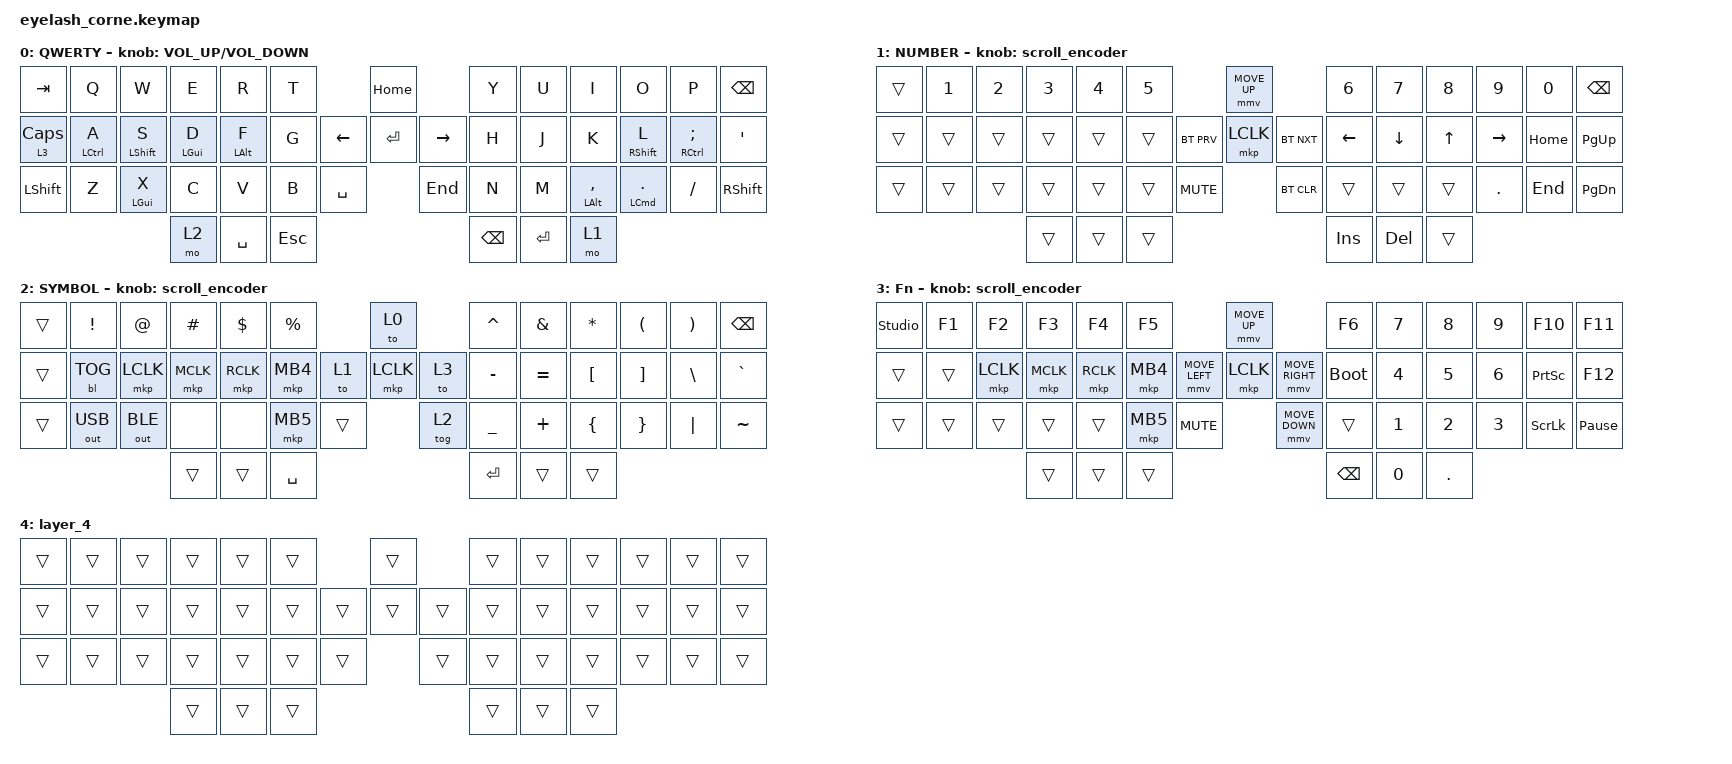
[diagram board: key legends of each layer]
#define ZMK_POINTING_DEFAULT_MOVE_VAL 1200  // 600
#define ZMK_POINTING_DEFAULT_SCRL_VAL 25   // 10

#include <input/processors.dtsi>
#include <zephyr/dt-bindings/input/input-event-codes.h>
#include <behaviors.dtsi>
#include <dt-bindings/zmk/backlight.h>
#include <dt-bindings/zmk/bt.h>
#include <dt-bindings/zmk/keys.h>
#include <dt-bindings/zmk/outputs.h>
#include <dt-bindings/zmk/pointing.h>
#include <dt-bindings/zmk/rgb.h>

&mmv_input_listener { input-processors = <&zip_xy_scaler 2 1>; };

&msc_input_listener { input-processors = <&zip_scroll_scaler 2 1>; };

&msc {
    acceleration-exponent = <1>;      // 0
    time-to-max-speed-ms = <100>;       // 300
    delay-ms = <0>;                   // 0
};

&mmv {
    time-to-max-speed-ms = <500>;
    acceleration-exponent = <1>;
    trigger-period-ms = <16>;
};

/ {
    behaviors {
        td0: td0 {
            compatible = "zmk,behavior-tap-dance";
            display-name = "Shift/Caps Lock Tap Dance";
            #binding-cells = <0>;
            bindings = <&kp LEFT_SHIFT>, <&kp CAPS>;
        };

        opt_mt: opt_mt {
            compatible = "zmk,behavior-hold-tap";
            label = "Optimized Mod-Tap";
            bindings = <&kp>, <&kp>;

            #binding-cells = <2>;
            flavor = "balanced";
            tapping-term-ms = <280>;
            quick-tap-ms = <175>;
            require-prior-idle-ms = <150>;
            hold-trigger-on-release;
        };

        opt_mt_2: opt_mt_2 {
            compatible = "zmk,behavior-hold-tap";
            label = "More Sensitive Optimized Mod-Tap";
            bindings = <&kp>, <&kp>;

            #binding-cells = <2>;
            tapping-term-ms = <200>;
            hold-trigger-on-release;
            flavor = "balanced";
            quick-tap-ms = <175>;
            require-prior-idle-ms = <150>;
        };
    };

    rgb_encoder: rgb_encoder {
        compatible = "zmk,behavior-sensor-rotate";
        #sensor-binding-cells = <0>;
        bindings = <&rgb_ug RGB_BRI>, <&rgb_ug RGB_BRD>;
    };

    scroll_encoder: scroll_encoder {
        compatible = "zmk,behavior-sensor-rotate";
        #sensor-binding-cells = <0>;
        bindings = <&msc SCRL_DOWN>, <&msc SCRL_UP>;

        tap-ms = <100>;
    };

    macros {
        switch_to_wezterm: switch_to_wezterm {
            compatible = "zmk,behavior-macro";
            #binding-cells = <0>;
            bindings =
                <&macro_press>,
                <&kp SPACE>,
                <&macro_tap>,
                <&kp T>,
                <&macro_release>,
                <&kp SPACE>;

            label = "SWITCH_TO_WEZTERM";
        };
    };

    keymap {
        compatible = "zmk,keymap";

        default_layer {
            display-name = "QWERTY";
            bindings = <
&kp TAB     &kp Q                   &kp W                 &kp E               &kp R               &kp T                           &kp HOME              &kp Y     &kp U      &kp I               &kp O                  &kp P                       &kp BSPC
&lt 3 CAPS  &opt_mt LEFT_CONTROL A  &opt_mt LEFT_SHIFT S  &opt_mt LEFT_GUI D  &opt_mt LEFT_ALT F  &kp G                 &kp LEFT  &kp ENTER  &kp RIGHT  &kp H     &kp J      &kp K               &opt_mt RIGHT_SHIFT L  &opt_mt RIGHT_CONTROL SEMI  &kp SQT
&kp LSHIFT  &kp Z                   &opt_mt LEFT_GUI X    &kp C               &kp V               &kp B    &kp SPACE              &kp END               &kp N     &kp M      &mt LEFT_ALT COMMA  &mt LEFT_COMMAND DOT   &kp FSLH                    &kp RSHIFT
                                                          &mo 2               &kp SPACE           &kp ESC                                               &kp BSPC  &kp ENTER  &mo 1
            >;

            sensor-bindings = <&inc_dec_kp C_VOLUME_UP C_VOLUME_DOWN>;
        };

        lower_layer {
            display-name = "NUMBER";
            bindings = <
&trans  &kp N1  &kp N2  &kp N3  &kp N4  &kp N5                            &mmv MOVE_UP              &kp N6    &kp N7    &kp N8  &kp N9      &kp N0    &kp BSPC
&trans  &trans  &trans  &trans  &trans  &trans                &bt BT_PRV  &mkp LCLK     &bt BT_NXT  &kp LEFT  &kp DOWN  &kp UP  &kp RIGHT   &kp HOME  &kp PG_UP
&trans  &trans  &trans  &trans  &trans  &trans  &kp C_MUTE                &bt BT_CLR                &trans    &trans    &trans  &kp PERIOD  &kp END   &kp PG_DN
                        &trans  &trans  &trans                                                      &kp INS   &kp DEL   &trans
            >;

            sensor-bindings = <&scroll_encoder>;
        };

        raise_layer {
            display-name = "SYMBOL";
            bindings = <
&trans  &kp EXCL      &kp AT        &kp HASH   &kp DLLR   &kp PRCNT                   &to 0             &kp CARET  &kp AMPS   &kp ASTRK  &kp LPAR  &kp RPAR  &kp BSPC
&trans  &bl BL_TOG    &mkp LCLK     &mkp MCLK  &mkp RCLK  &mkp MB4             &to 1  &mkp LCLK  &to 3  &kp MINUS  &kp EQUAL  &kp LBKT   &kp RBKT  &kp BSLH  &kp GRAVE
&trans  &out OUT_USB  &out OUT_BLE  &none      &none      &mkp MB5   &trans           &tog 2            &kp UNDER  &kp PLUS   &kp LBRC   &kp RBRC  &kp PIPE  &kp TILDE
                                    &trans     &trans     &kp SPACE                                     &kp RET    &trans     &trans
            >;

            sensor-bindings = <&scroll_encoder>;
        };

        layer_3 {
            display-name = "Fn";
            bindings = <
&studio_unlock  &kp F1  &kp F2     &kp F3     &kp F4     &kp F5                                  &mmv MOVE_UP                     &kp F6         &kp NUMBER_7  &kp NUMBER_8  &kp NUMBER_9  &kp F10          &kp F11
&trans          &trans  &mkp LCLK  &mkp MCLK  &mkp RCLK  &mkp MB4                &mmv MOVE_LEFT  &mkp LCLK       &mmv MOVE_RIGHT  &bootloader    &kp NUMBER_4  &kp NUMBER_5  &kp NUMBER_6  &kp PRINTSCREEN  &kp F12
&trans          &trans  &trans     &trans     &trans     &mkp MB5  &kp C_MUTE                    &mmv MOVE_DOWN                   &trans         &kp NUMBER_1  &kp NUMBER_2  &kp NUMBER_3  &kp SCROLLLOCK   &kp PAUSE_BREAK
                                   &trans     &trans     &trans                                                                   &kp BACKSPACE  &kp NUMBER_0  &kp PERIOD
            >;

            sensor-bindings = <&scroll_encoder>;
        };

        layer_4 {
            bindings = <
&trans  &trans  &trans  &trans  &trans  &trans                    &trans          &trans  &trans  &trans  &trans  &trans  &trans
&trans  &trans  &trans  &trans  &trans  &trans            &trans  &trans  &trans  &trans  &trans  &trans  &trans  &trans  &trans
&trans  &trans  &trans  &trans  &trans  &trans  &trans            &trans          &trans  &trans  &trans  &trans  &trans  &trans
                        &trans  &trans  &trans                                    &trans  &trans  &trans
            >;
        };
    };
};
